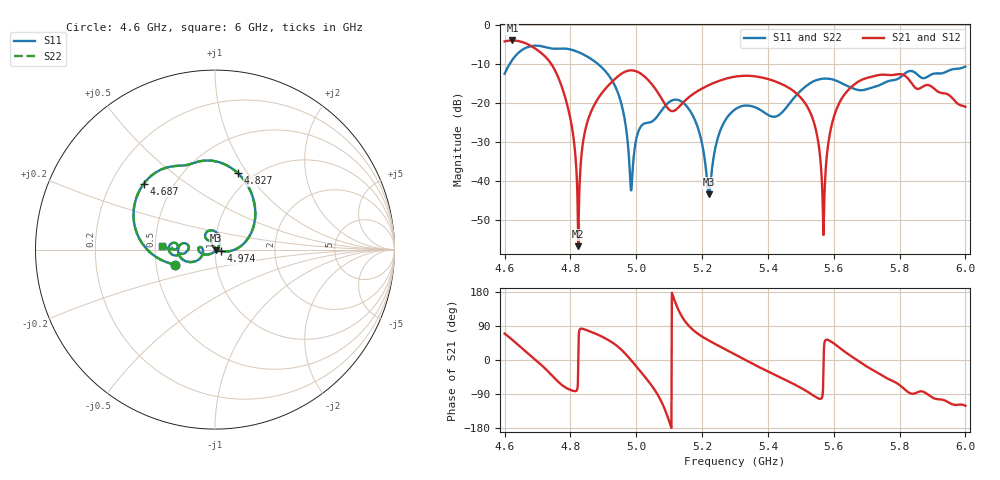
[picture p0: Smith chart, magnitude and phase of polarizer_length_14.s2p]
! TOUCHSTONE file generated by CST MICROWAVE STUDIO
! Date and time: Sun Dec  1 17:17:01 2024
! Project name: test_tuning.cst
! Parameters = {airCoaxOuterDiameter=3; chamferAngle=45; chamferWidth=24; connectorLength=10; drillingHoleDiameter=4.1; feedLength=60; flareDiameter=130; flareLength=70; gratingDistance=0; gratingGap=1.90274; outletLength=30; polarizerLength=90; probe1Diameter=1.3; probe1Distance=14; probe1Length=12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
! Header version: 2024
! Port assignment regex: !\s*Touchstone port\s*([0-9]+)\s*=\s*(CST MWS port|CST DES external port|CST DES block port)\s*(.+)\s* \(\"(.*)\"\)(\s*mode\s*([0-9]+))?.*
! Touchstone port assignment:
! Touchstone port 1 = CST MWS port 1 ("Input1")
! Touchstone port 2 = CST MWS port 2 ("Input2")
# GHz S MA R 50
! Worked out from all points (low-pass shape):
!   1001 points, 4.6 GHz to 6 GHz, reference 50 ohm
!   highest |S21| = -3.96 dB at 4.624 GHz (marker M1); lowest = -56.7 dB at 4.824 GHz (marker M2)
!   |S21| within 3 dB of the highest: start of sweep to 4.708 GHz
!   lowest |S11| = -43.4 dB at 5.22 GHz (marker M3), VSWR 1.01, Z = 50.5 - j0.415 ohm
!   |S11| at or under -10 dB: start of sweep to 4.615366 GHz; 4.884 GHz to end of sweep
!   |S22| runs from -43.4 to -5.3 dB; largest |S21 - S12| = 6.6e-07
!   S11 on the Smith chart (normalised r, x): 4.6 GHz: 0.63, -0.11; 4.687 GHz: 0.34, +0.35; 4.827 GHz: 0.85, +0.90; 4.974 GHz: 1.06, -0.01; 6 GHz: 0.55, +0.03
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4.6  0.2375 -159.5  0.6158 69.8  0.6158 69.8  0.2375 -159.5
4.6238  0.3585 -177.1  0.6337 52.9  0.6337 52.9  0.3585 -177.1
4.6868  0.5406 137.1  0.5183 5.4  0.5183 5.4  0.5406 137.1
4.7792  0.4993 97.0  0.1381 -69.2  0.1381 -69.2  0.4993 97.0
4.824  0.4495 74.8  0.001469 11.1  0.001469 11.1  0.4495 74.8
4.8268  0.4442 73.4  0.006839 77.2  0.006839 77.2  0.4443 73.4
4.8338  0.4306 70.0  0.02215 82.8  0.02215 82.8  0.4306 70.0
4.8618  0.3696 56.2  0.07598 74.5  0.07598 74.5  0.3696 56.2
4.9332  0.173 13.9  0.1998 42.6  0.1998 42.6  0.173 13.9
4.9738  0.03215 -12.1  0.2588 10.0  0.2588 10.0  0.03215 -12.1
4.985  0.007603 67.4  0.2623 -1.2  0.2623 -1.2  0.007603 67.4
5.0102  0.04708 116.1  0.2432 -27.5  0.2432 -27.5  0.04708 116.1
5.0676  0.07078 128.6  0.1322 -95.3  0.1322 -95.3  0.07078 128.6
5.16  0.08373 76.8  0.1189 89.9  0.1189 89.9  0.08373 76.8
5.2202  0.006744 -37.5  0.1696 51.5  0.1696 51.5  0.006744 -37.5
5.3  0.08281 -167.7  0.2179 14.7  0.2179 14.7  0.08281 -167.7
5.5338  0.1852 -161.6  0.0671 -91.2  0.0671 -91.2  0.1852 -161.6
5.5688  0.2053 -175.4  0.002043 -21.3  0.002043 -21.3  0.2053 -175.4
5.5884  0.2041 177.4  0.04092 50.4  0.04092 50.4  0.2041 177.4
5.6206  0.1827 169.0  0.1075 30.4  0.1075 30.4  0.1827 169.0
5.7676  0.1919 -173.3  0.2287 -50.7  0.2287 -50.7  0.1919 -173.3
6  0.2934 175.8  0.08956 -120.8  0.08956 -120.8  0.2934 175.8
